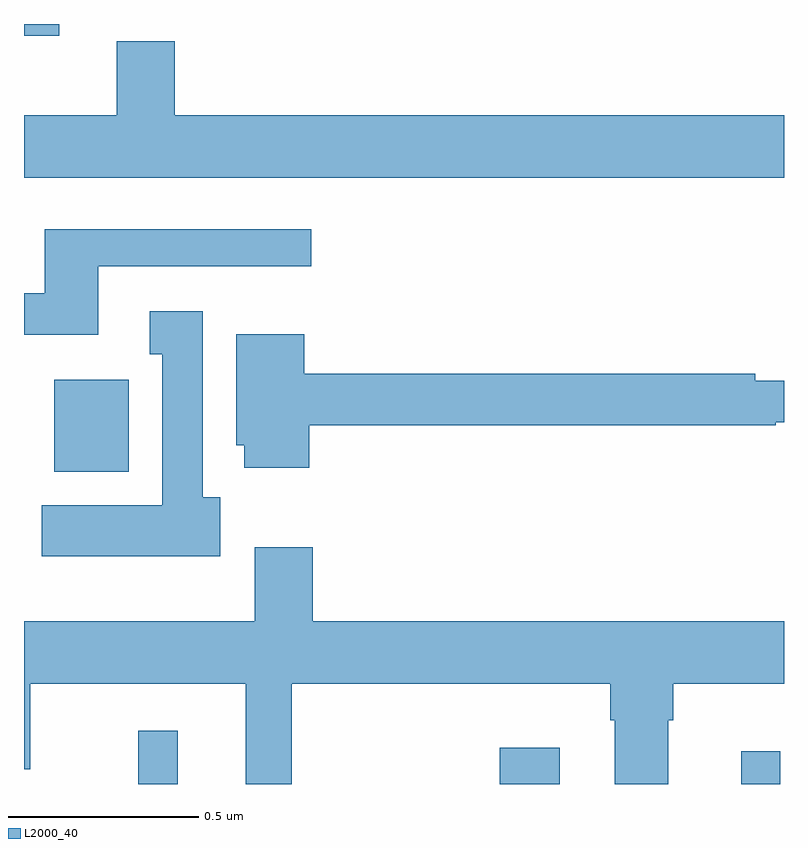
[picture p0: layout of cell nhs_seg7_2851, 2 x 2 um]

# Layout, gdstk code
import gdstk
lib = gdstk.Library(unit=1e-6, precision=1e-09)
def R(c, l, rs):  # rectangles x0, y0, x1, y1
    for r in rs: c.add(gdstk.rectangle(r[:2], r[2:], *l))
def P(c, l, *ps):  # polygons
    for p in ps: c.add(gdstk.Polygon(p, *l))
L2000_40 = (2000, 40)

nhs_seg7_2851 = lib.new_cell('nhs_seg7_2851')
R(nhs_seg7_2851, L2000_40, [(151.301,1019,151.405,1019.14), (152.252,1019,152.41,1019.095), (152.888,1019,152.99,1019.086), (151.079,1019.822,151.276,1020.064), (151,1020.969,151.093,1021)])
P(nhs_seg7_2851, L2000_40, [(153,1020.76),(151.397,1020.76),(151.397,1020.955),(151.244,1020.955),(151.244,1020.76),(151,1020.76),(151,1020.596),(153,1020.596)],
  [(151.195,1020.363),(151.756,1020.363),(151.756,1020.46),(151.055,1020.46),(151.055,1020.292),(151,1020.292),(151,1020.182),(151.195,1020.182)],
  [(151.516,1019.754),(151.471,1019.754),(151.471,1020.244),(151.331,1020.244),(151.331,1020.131),(151.364,1020.131),(151.364,1019.734),(151.047,1019.734),(151.047,1019.6),(151.516,1019.6)],
  [(151.751,1019.944),(152.978,1019.944),(152.978,1019.952),(153,1019.952),(153,1020.061),(152.924,1020.061),(152.924,1020.08),(151.738,1020.08),(151.738,1020.184),(151.559,1020.184),(151.559,1019.892),(151.58,1019.892),(151.58,1019.832),(151.751,1019.832)],
  [(151.705,1019.264),(152.543,1019.264),(152.543,1019.168),(152.555,1019.168),(152.555,1019),(152.695,1019),(152.695,1019.168),(152.708,1019.168),(152.708,1019.264),(153,1019.264),(153,1019.428),(151.76,1019.428),(151.76,1019.623),(151.607,1019.623),(151.607,1019.428),(151,1019.428),(151,1019.039),(151.016,1019.039),(151.016,1019.264),(151.583,1019.264),(151.583,1019),(151.705,1019)])

lib.write_gds('nhs_seg7_2851.gds')
